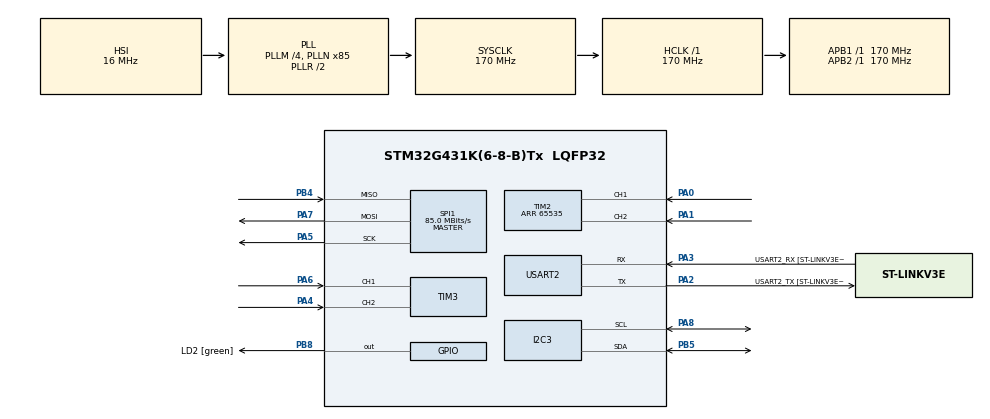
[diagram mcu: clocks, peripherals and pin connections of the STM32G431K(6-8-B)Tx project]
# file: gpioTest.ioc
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I2C3.Timing=0x30A0A7FB
Mcu.Family=STM32G4
Mcu.Name=STM32G431K(6-8-B)Tx
Mcu.Package=LQFP32
NVIC.PriorityGroup=NVIC_PRIORITYGROUP_4
PA0.Signal=S_TIM2_CH1
PA1.Signal=S_TIM2_CH2
PA13.GPIO_Label=T_SWDIO
PA13.Mode=Serial_Wire
PA13.Signal=SYS_JTMS-SWDIO
PA14.GPIO_Label=T_SWCLK
PA14.Mode=Serial_Wire
PA14.Signal=SYS_JTCK-SWCLK
PA2.GPIO_Label=USART2_TX [ST-LINKV3E_VCP_RX]
PA2.Mode=Asynchronous
PA2.Signal=USART2_TX
PA3.GPIO_Label=USART2_RX [ST-LINKV3E_VCP_TX]
PA3.Mode=Asynchronous
PA3.Signal=USART2_RX
PA4.Signal=S_TIM3_CH2
PA5.Mode=Full_Duplex_Master
PA5.Signal=SPI1_SCK
PA6.Signal=S_TIM3_CH1
PA7.Mode=Full_Duplex_Master
PA7.Signal=SPI1_MOSI
PA8.Mode=I2C
PA8.Signal=I2C3_SCL
PB4.Mode=Full_Duplex_Master
PB4.Signal=SPI1_MISO
PB5.Mode=I2C
PB5.Signal=I2C3_SDA
PB8-BOOT0.GPIO_Label=LD2 [green]
PB8-BOOT0.Signal=GPIO_Output
ProjectManager.HeapSize=0x200
ProjectManager.StackSize=0x400
ProjectManager.TargetToolchain=STM32CubeIDE
RCC.ADC12Freq_Value=170000000
RCC.AHBFreq_Value=170000000
RCC.APB1Freq_Value=170000000
RCC.APB1TimFreq_Value=170000000
RCC.APB2Freq_Value=170000000
RCC.APB2TimFreq_Value=170000000
RCC.CortexFreq_Value=170000000
RCC.EXTERNAL_CLOCK_VALUE=12288000
RCC.HCLKFreq_Value=170000000
RCC.HSE_VALUE=8000000
RCC.HSI48_VALUE=48000000
RCC.HSI_VALUE=16000000
RCC.LSE_VALUE=32768
RCC.PLLM=RCC_PLLM_DIV4
RCC.PLLN=85
RCC.SYSCLKFreq_VALUE=170000000
RCC.SYSCLKSource=RCC_SYSCLKSOURCE_PLLCLK
RCC.USBFreq_Value=170000000
RCC.VCOOutputFreq_Value=340000000
SH.S_TIM2_CH1.0=TIM2_CH1,Encoder_Interface
SH.S_TIM2_CH2.0=TIM2_CH2,Encoder_Interface
SH.S_TIM3_CH1.0=TIM3_CH1,Encoder_Interface
SH.S_TIM3_CH2.0=TIM3_CH2,Encoder_Interface
SPI1.BaudRatePrescaler=SPI_BAUDRATEPRESCALER_2
SPI1.CalculateBaudRate=85.0 MBits/s
SPI1.Direction=SPI_DIRECTION_2LINES
SPI1.Mode=SPI_MODE_MASTER
SPI1.VirtualType=VM_MASTER
TIM2.PeriodNoDither=65535
USART2.VirtualMode-Asynchronous=VM_ASYNC
USART2.WordLength=WORDLENGTH_8B
board=NUCLEO-G431KB

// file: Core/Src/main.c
/* USER CODE BEGIN Header */
/**
  ******************************************************************************
  * @file           : main.c
  * @brief          : Main program body
  ******************************************************************************
  * @attention
  *
  * Copyright (c) 2023 STMicroelectronics.
  * All rights reserved.
  *
  * This software is licensed under terms that can be found in the LICENSE file
  * in the root directory of this software component.
  * If no LICENSE file comes with this software, it is provided AS-IS.
  *
  ******************************************************************************
  */
/* USER CODE END Header */
#include "main.h"

/* USER CODE BEGIN Includes */
#include <stdio.h>

/* USER CODE END Includes */

/* USER CODE BEGIN PM */
#define BNO_ADDRESS 0x28

/* USER CODE END PM */

I2C_HandleTypeDef hi2c3;

SPI_HandleTypeDef hspi1;

TIM_HandleTypeDef htim2;
TIM_HandleTypeDef htim3;

UART_HandleTypeDef huart2;

void SystemClock_Config(void);
static void MX_GPIO_Init(void);
static void MX_USART2_UART_Init(void);
static void MX_TIM3_Init(void);
static void MX_TIM2_Init(void);
static void MX_I2C3_Init(void);
static void MX_SPI1_Init(void);
/* USER CODE BEGIN PFP */
void BNO055_Init();

/* USER CODE END PFP */

/* USER CODE BEGIN 0 */
int _write(int file, char *ptr, int len)
{
	HAL_UART_Transmit(&huart2, (uint8_t *)ptr, len, 10);
	return len;
}

int16_t read_encoder_value(uint8_t a)
{
	if(a == 0){
		uint16_t enc_buff = TIM2->CNT;
		TIM2->CNT = 0;
		return (int16_t)enc_buff;
	}

	else if(a == 1){
		uint16_t enc_buff = TIM3->CNT;
		TIM3->CNT = 0;
		return (int16_t)enc_buff;
	}
}
/* USER CODE END 0 */

int main(void)
{

  /* MCU Configuration--------------------------------------------------------*/

  /* Reset of all peripherals, Initializes the Flash interface and the Systick. */
  HAL_Init();

  /* Configure the system clock */
  SystemClock_Config();

  /* Initialize all configured peripherals */
  MX_GPIO_Init();
  MX_USART2_UART_Init();
  MX_TIM3_Init();
  MX_TIM2_Init();
  MX_I2C3_Init();
  MX_SPI1_Init();
  /* USER CODE BEGIN 2 */
  printf("Initialized \r\n");
  uint8_t Rxbuffer[6] = {};
  float euler[3];
  uint8_t i;
  int64_t count[2]={};
  char eulerheader[3][10] = {"x", "y", "z"};
  /* USER CODE END 2 */

  /* Infinite loop */
  /* USER CODE BEGIN WHILE */
  while (1)
  {
	  /*HAL_I2C_Mem_Read(&hi2c3, BNO_ADDRESS << 1, 0x1A, I2C_MEMADD_SIZE_8BIT, Rxbuffer, 6, 100);
	  for(i=0; i<3; i++){
		  euler[i] = (float)((Rxbuffer[i*2+1] << 8) | Rxbuffer[i*2])/16;
		  printf("%s: %f\r\n", eulerheader[i], euler[i]);

	  }*/
	  //printf("%d", Rx)
	  HAL_I2C_Mem_Read(&hi2c3, BNO_ADDRESS << 1, 0x1A, I2C_MEMADD_SIZE_8BIT, Rxbuffer, 2, 100);
	  //printf("%s: %f\r\n", "x", (float)((Rxbuffer[1] << 8) | Rxbuffer[0])/16);

	  for(i=0; i<2; i++){
		  count[i] += read_encoder_value(i);
		  printf("Encoder %d: %d\r\n", i, count[i]);
	  }
	  HAL_Delay(200);

    /* USER CODE END WHILE */

  }
}

void SystemClock_Config(void)
{
  RCC_OscInitTypeDef RCC_OscInitStruct = {0};
  RCC_ClkInitTypeDef RCC_ClkInitStruct = {0};

  /** Configure the main internal regulator output voltage
  */
  HAL_PWREx_ControlVoltageScaling(PWR_REGULATOR_VOLTAGE_SCALE1_BOOST);

  /** Initializes the RCC Oscillators according to the specified parameters
  * in the RCC_OscInitTypeDef structure.
  */
  RCC_OscInitStruct.OscillatorType = RCC_OSCILLATORTYPE_HSI;
  RCC_OscInitStruct.HSIState = RCC_HSI_ON;
  RCC_OscInitStruct.HSICalibrationValue = RCC_HSICALIBRATION_DEFAULT;
  RCC_OscInitStruct.PLL.PLLState = RCC_PLL_ON;
  RCC_OscInitStruct.PLL.PLLSource = RCC_PLLSOURCE_HSI;
  RCC_OscInitStruct.PLL.PLLM = RCC_PLLM_DIV4;
  RCC_OscInitStruct.PLL.PLLN = 85;
  RCC_OscInitStruct.PLL.PLLP = RCC_PLLP_DIV2;
  RCC_OscInitStruct.PLL.PLLQ = RCC_PLLQ_DIV2;
  RCC_OscInitStruct.PLL.PLLR = RCC_PLLR_DIV2;
  if (HAL_RCC_OscConfig(&RCC_OscInitStruct) != HAL_OK)
  {
    Error_Handler();
  }

  /** Initializes the CPU, AHB and APB buses clocks
  */
  RCC_ClkInitStruct.ClockType = RCC_CLOCKTYPE_HCLK|RCC_CLOCKTYPE_SYSCLK
                              |RCC_CLOCKTYPE_PCLK1|RCC_CLOCKTYPE_PCLK2;
  RCC_ClkInitStruct.SYSCLKSource = RCC_SYSCLKSOURCE_PLLCLK;
  RCC_ClkInitStruct.AHBCLKDivider = RCC_SYSCLK_DIV1;
  RCC_ClkInitStruct.APB1CLKDivider = RCC_HCLK_DIV1;
  RCC_ClkInitStruct.APB2CLKDivider = RCC_HCLK_DIV1;

  if (HAL_RCC_ClockConfig(&RCC_ClkInitStruct, FLASH_LATENCY_4) != HAL_OK)
  {
    Error_Handler();
  }
}

static void MX_I2C3_Init(void)
{

  hi2c3.Instance = I2C3;
  hi2c3.Init.Timing = 0x30A0A7FB;
  hi2c3.Init.OwnAddress1 = 0;
  hi2c3.Init.AddressingMode = I2C_ADDRESSINGMODE_7BIT;
  hi2c3.Init.DualAddressMode = I2C_DUALADDRESS_DISABLE;
  hi2c3.Init.OwnAddress2 = 0;
  hi2c3.Init.OwnAddress2Masks = I2C_OA2_NOMASK;
  hi2c3.Init.GeneralCallMode = I2C_GENERALCALL_DISABLE;
  hi2c3.Init.NoStretchMode = I2C_NOSTRETCH_DISABLE;
  if (HAL_I2C_Init(&hi2c3) != HAL_OK)
  {
    Error_Handler();
  }

  /** Configure Analogue filter
  */
  if (HAL_I2CEx_ConfigAnalogFilter(&hi2c3, I2C_ANALOGFILTER_ENABLE) != HAL_OK)
  {
    Error_Handler();
  }

  /** Configure Digital filter
  */
  if (HAL_I2CEx_ConfigDigitalFilter(&hi2c3, 0) != HAL_OK)
  {
    Error_Handler();
  }
  /* USER CODE BEGIN I2C3_Init 2 */
  BNO055_Init();

  /* USER CODE END I2C3_Init 2 */

}

static void MX_SPI1_Init(void)
{

  /* SPI1 parameter configuration*/
  hspi1.Instance = SPI1;
  hspi1.Init.Mode = SPI_MODE_MASTER;
  hspi1.Init.Direction = SPI_DIRECTION_2LINES;
  hspi1.Init.DataSize = SPI_DATASIZE_4BIT;
  hspi1.Init.CLKPolarity = SPI_POLARITY_LOW;
  hspi1.Init.CLKPhase = SPI_PHASE_1EDGE;
  hspi1.Init.NSS = SPI_NSS_SOFT;
  hspi1.Init.BaudRatePrescaler = SPI_BAUDRATEPRESCALER_2;
  hspi1.Init.FirstBit = SPI_FIRSTBIT_MSB;
  hspi1.Init.TIMode = SPI_TIMODE_DISABLE;
  hspi1.Init.CRCCalculation = SPI_CRCCALCULATION_DISABLE;
  hspi1.Init.CRCPolynomial = 7;
  hspi1.Init.CRCLength = SPI_CRC_LENGTH_DATASIZE;
  hspi1.Init.NSSPMode = SPI_NSS_PULSE_ENABLE;
  if (HAL_SPI_Init(&hspi1) != HAL_OK)
  {
    Error_Handler();
  }

}

static void MX_TIM2_Init(void)
{

  TIM_Encoder_InitTypeDef sConfig = {0};
  TIM_MasterConfigTypeDef sMasterConfig = {0};

  htim2.Instance = TIM2;
  htim2.Init.Prescaler = 0;
  htim2.Init.CounterMode = TIM_COUNTERMODE_UP;
  htim2.Init.Period = 65535;
  htim2.Init.ClockDivision = TIM_CLOCKDIVISION_DIV1;
  htim2.Init.AutoReloadPreload = TIM_AUTORELOAD_PRELOAD_DISABLE;
  sConfig.EncoderMode = TIM_ENCODERMODE_TI1;
  sConfig.IC1Polarity = TIM_ICPOLARITY_RISING;
  sConfig.IC1Selection = TIM_ICSELECTION_DIRECTTI;
  sConfig.IC1Prescaler = TIM_ICPSC_DIV1;
  sConfig.IC1Filter = 0;
  sConfig.IC2Polarity = TIM_ICPOLARITY_RISING;
  sConfig.IC2Selection = TIM_ICSELECTION_DIRECTTI;
  sConfig.IC2Prescaler = TIM_ICPSC_DIV1;
  sConfig.IC2Filter = 0;
  if (HAL_TIM_Encoder_Init(&htim2, &sConfig) != HAL_OK)
  {
    Error_Handler();
  }
  sMasterConfig.MasterOutputTrigger = TIM_TRGO_RESET;
  sMasterConfig.MasterSlaveMode = TIM_MASTERSLAVEMODE_DISABLE;
  if (HAL_TIMEx_MasterConfigSynchronization(&htim2, &sMasterConfig) != HAL_OK)
  {
    Error_Handler();
  }
  /* USER CODE BEGIN TIM2_Init 2 */
  HAL_TIM_Encoder_Start(&htim2, TIM_CHANNEL_ALL);
  /* USER CODE END TIM2_Init 2 */

}

static void MX_TIM3_Init(void)
{

  TIM_Encoder_InitTypeDef sConfig = {0};
  TIM_MasterConfigTypeDef sMasterConfig = {0};

  htim3.Instance = TIM3;
  htim3.Init.Prescaler = 0;
  htim3.Init.CounterMode = TIM_COUNTERMODE_UP;
  htim3.Init.Period = 65535;
  htim3.Init.ClockDivision = TIM_CLOCKDIVISION_DIV1;
  htim3.Init.AutoReloadPreload = TIM_AUTORELOAD_PRELOAD_DISABLE;
  sConfig.EncoderMode = TIM_ENCODERMODE_TI1;
  sConfig.IC1Polarity = TIM_ICPOLARITY_RISING;
  sConfig.IC1Selection = TIM_ICSELECTION_DIRECTTI;
  sConfig.IC1Prescaler = TIM_ICPSC_DIV1;
  sConfig.IC1Filter = 0;
  sConfig.IC2Polarity = TIM_ICPOLARITY_RISING;
  sConfig.IC2Selection = TIM_ICSELECTION_DIRECTTI;
  sConfig.IC2Prescaler = TIM_ICPSC_DIV1;
  sConfig.IC2Filter = 0;
  if (HAL_TIM_Encoder_Init(&htim3, &sConfig) != HAL_OK)
  {
    Error_Handler();
  }
  sMasterConfig.MasterOutputTrigger = TIM_TRGO_RESET;
  sMasterConfig.MasterSlaveMode = TIM_MASTERSLAVEMODE_DISABLE;
  if (HAL_TIMEx_MasterConfigSynchronization(&htim3, &sMasterConfig) != HAL_OK)
  {
    Error_Handler();
  }
  /* USER CODE BEGIN TIM3_Init 2 */
  HAL_TIM_Encoder_Start(&htim3, TIM_CHANNEL_ALL);
  /* USER CODE END TIM3_Init 2 */

}

static void MX_USART2_UART_Init(void)
{

  huart2.Instance = USART2;
  huart2.Init.BaudRate = 115200;
  huart2.Init.WordLength = UART_WORDLENGTH_8B;
  huart2.Init.StopBits = UART_STOPBITS_1;
  huart2.Init.Parity = UART_PARITY_NONE;
  huart2.Init.Mode = UART_MODE_TX_RX;
  huart2.Init.HwFlowCtl = UART_HWCONTROL_NONE;
  huart2.Init.OverSampling = UART_OVERSAMPLING_16;
  huart2.Init.OneBitSampling = UART_ONE_BIT_SAMPLE_DISABLE;
  huart2.Init.ClockPrescaler = UART_PRESCALER_DIV1;
  huart2.AdvancedInit.AdvFeatureInit = UART_ADVFEATURE_NO_INIT;
  if (HAL_UART_Init(&huart2) != HAL_OK)
  {
    Error_Handler();
  }
  if (HAL_UARTEx_SetTxFifoThreshold(&huart2, UART_TXFIFO_THRESHOLD_1_8) != HAL_OK)
  {
    Error_Handler();
  }
  if (HAL_UARTEx_SetRxFifoThreshold(&huart2, UART_RXFIFO_THRESHOLD_1_8) != HAL_OK)
  {
    Error_Handler();
  }
  if (HAL_UARTEx_DisableFifoMode(&huart2) != HAL_OK)
  {
    Error_Handler();
  }
  /* USER CODE BEGIN USART2_Init 2 */
  setbuf(stdout, NULL);
  /* USER CODE END USART2_Init 2 */

}

static void MX_GPIO_Init(void)
{
  GPIO_InitTypeDef GPIO_InitStruct = {0};

  /* GPIO Ports Clock Enable */
  __HAL_RCC_GPIOA_CLK_ENABLE();
  __HAL_RCC_GPIOB_CLK_ENABLE();

  /*Configure GPIO pin Output Level */
  HAL_GPIO_WritePin(LD2_GPIO_Port, LD2_Pin, GPIO_PIN_RESET);

  /*Configure GPIO pin : LD2_Pin */
  GPIO_InitStruct.Pin = LD2_Pin;
  GPIO_InitStruct.Mode = GPIO_MODE_OUTPUT_PP;
  GPIO_InitStruct.Pull = GPIO_NOPULL;
  GPIO_InitStruct.Speed = GPIO_SPEED_FREQ_LOW;
  HAL_GPIO_Init(LD2_GPIO_Port, &GPIO_InitStruct);

}

/* USER CODE BEGIN 4 */
void BNO055_Init(){
	HAL_Delay(700);
	uint8_t Txbuff;
	uint8_t Rxbuff;
	//char message[20];

	//Txbuff = 0x20;
	//HAL_I2C_Mem_Write(&hi2c1, 0x28 << 1, 0x3F, I2C_MEMADD_SIZE_8BIT, &Txbuff, 1, 100); //system trigger

	Txbuff = 0x00;
	HAL_I2C_Mem_Write(&hi2c3, 0x28 << 1, 0x3E, I2C_MEMADD_SIZE_8BIT, &Txbuff, 1, 100); //power mode

	Txbuff = 0x0C;
	HAL_I2C_Mem_Write(&hi2c3, 0x28 << 1, 0x3D, I2C_MEMADD_SIZE_8BIT, &Txbuff, 1, 100);//using Nine Degree of Freedom mode

	HAL_I2C_Mem_Read(&hi2c3, 0x28 << 1, 0x3A, I2C_MEMADD_SIZE_8BIT, &Rxbuff, 1, 100);
	printf("Error: %x\r\n", Rxbuff);

	HAL_I2C_Mem_Read(&hi2c3, 0x28 << 1, 0x00, I2C_MEMADD_SIZE_8BIT, &Rxbuff, 1, 100);
	printf("ID: %x\r\n", Rxbuff);

	HAL_I2C_Mem_Read(&hi2c3, 0x28 << 1, 0x34, I2C_MEMADD_SIZE_8BIT, &Rxbuff, 1, 100);
	printf("Temp: %x\r\n", Rxbuff);

	//print_int(30, "testing");
	HAL_Delay(100);

}

/* USER CODE END 4 */

void Error_Handler(void)
{
  __disable_irq();
  while (1)
  {
  }
}
